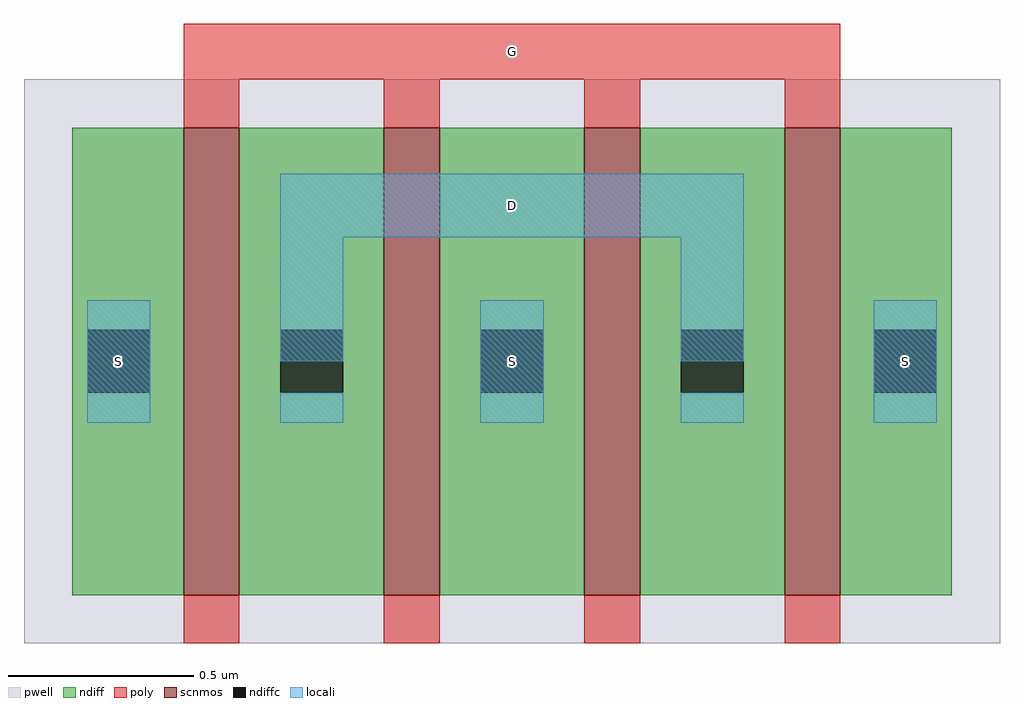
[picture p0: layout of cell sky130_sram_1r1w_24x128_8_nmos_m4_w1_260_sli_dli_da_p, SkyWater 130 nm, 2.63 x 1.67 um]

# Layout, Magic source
magic
tech sky130B
magscale 1 2
<< pwell >>
rect -26 -26 500 278
<< scnmos >>
rect 60 0 90 252
rect 168 0 198 252
rect 276 0 306 252
rect 384 0 414 252
<< ndiff >>
rect 0 0 60 252
rect 90 0 168 252
rect 198 0 276 252
rect 306 0 384 252
rect 414 0 474 252
<< poly >>
rect 60 278 414 308
rect 60 252 90 278
rect 168 252 198 278
rect 276 252 306 278
rect 384 252 414 278
rect 60 -26 90 0
rect 168 -26 198 0
rect 276 -26 306 0
rect 384 -26 414 0
<< locali >>
rect 112 193 362 227
rect 8 93 42 159
rect 112 126 146 193
rect 220 93 254 159
rect 328 126 362 193
rect 432 93 466 159
use sky130_sram_1r1w_24x128_8_contact_10  sky130_sram_1r1w_24x128_8_contact_10_0
transform 1 0 424 0 1 93
box -26 -22 76 88
use sky130_sram_1r1w_24x128_8_contact_10  sky130_sram_1r1w_24x128_8_contact_10_1
transform 1 0 320 0 1 93
box -26 -22 76 88
use sky130_sram_1r1w_24x128_8_contact_10  sky130_sram_1r1w_24x128_8_contact_10_2
transform 1 0 212 0 1 93
box -26 -22 76 88
use sky130_sram_1r1w_24x128_8_contact_10  sky130_sram_1r1w_24x128_8_contact_10_3
transform 1 0 104 0 1 93
box -26 -22 76 88
use sky130_sram_1r1w_24x128_8_contact_10  sky130_sram_1r1w_24x128_8_contact_10_4
transform 1 0 0 0 1 93
box -26 -22 76 88
<< labels >>
rlabel poly s 237 293 237 293 4 G
port 1 nsew
rlabel locali s 237 126 237 126 4 S
port 2 nsew
rlabel locali s 449 126 449 126 4 S
port 2 nsew
rlabel locali s 25 126 25 126 4 S
port 2 nsew
rlabel locali s 237 210 237 210 4 D
port 3 nsew
<< properties >>
string FIXED_BBOX -25 -26 499 308
<< end >>

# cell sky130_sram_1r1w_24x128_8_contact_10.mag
magic
tech sky130B
<< pwell >>
rect -13 -11 38 44
<< ndiff >>
rect 0 25 25 31
rect 0 8 4 25
rect 21 8 25 25
rect 0 2 25 8
<< ndiffc >>
rect 4 8 21 25
<< locali >>
rect 4 25 21 33
rect 4 0 21 8
<< properties >>
string FIXED_BBOX -12 -10 37 43
<< end >>
